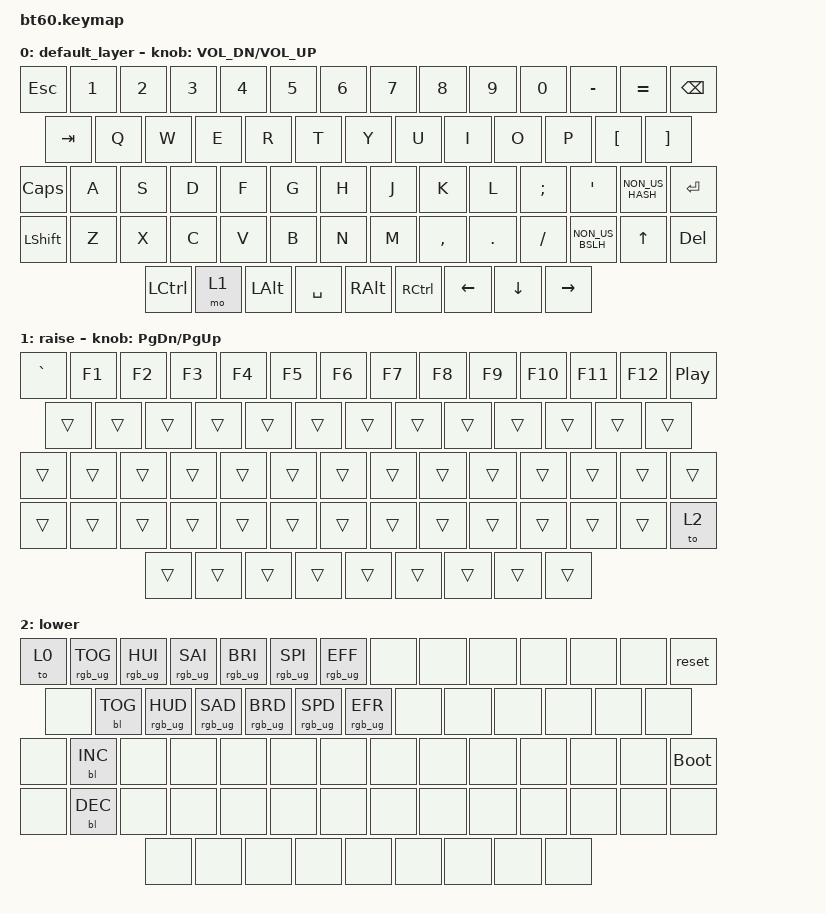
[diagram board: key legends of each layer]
#include <behaviors.dtsi>
#include <dt-bindings/zmk/keys.h>
#include <dt-bindings/zmk/bt.h>
#include <dt-bindings/zmk/rgb.h>
#include <dt-bindings/zmk/backlight.h>

/ {
	keymap {
		compatible = "zmk,keymap";

		default_layer {
				// ------------------------------------------------------------------------------------------
				// | ESC |  1  |  2  |  3  |  4  |  5  |  6  |  7  |  8  |  9  |  0  |  -  |  =  |   BKSP   |
				// | TAB  |  Q  |  W  |  E  |  R  |  T  |  Y  |  U  |  I  |  O  |  P  |  [  |  ]  |         |
				// | CAPS  |  A  |  S  |  D  |  F  |  G  |  H  |  J  |  K  |  L  |  ;  |  '  |  #   | ENTER |
				// |  SHIFT |  Z  |  X  |  C  |  V  |  B  |  N  |  M  |  ,  |  .  | /   |  \  |  UP  |  DEL |
				// |  CTL  |  1   |  ALT  |                     SPACE       | ALT | CTL |LEFT | DOWN | RIGHT|
				// ------------------------------------------------------------------------------------------
			bindings = <

				&kp ESC &kp N1 &kp N2 &kp N3 &kp N4 &kp N5 &kp N6 &kp N7 &kp  N8   &kp  N9 &kp  N0  &kp MINUS &kp EQUAL &kp BSPC
				&kp TAB  &kp Q  &kp W  &kp E  &kp R  &kp T  &kp Y  &kp U  &kp  I    &kp  O  &kp  P   &kp LBKT &kp RBKT
				&kp CLCK  &kp A  &kp S  &kp D  &kp F  &kp G  &kp H  &kp J  &kp  K    &kp  L  &kp SEMI &kp SQT  &kp NON_US_HASH  &kp RET
				&kp LSHFT  &kp Z  &kp X  &kp C  &kp V  &kp B  &kp N  &kp M  &kp COMMA &kp DOT &kp FSLH &kp NON_US_BSLH &kp UP &kp DEL
				&kp LCTRL &mo 1 &kp LALT            &kp SPACE                          &kp RALT  &kp RCTRL &kp LEFT &kp DOWN &kp RIGHT
			>;
			sensor-bindings = <&inc_dec_kp C_VOL_DN C_VOL_UP>;
		};
		raise {
			bindings = <
				&kp GRAVE &kp F1 &kp F2 &kp F3 &kp F4 &kp F5 &kp F6 &kp F7 &kp  F8   &kp  F9 &kp  F10  &kp F11 &kp F12   &kp C_PLAY_PAUSE
				&trans &trans &trans &trans &trans &trans &trans &trans &trans &trans &trans &trans &trans
				&trans   &trans &trans &trans &trans &trans &trans &trans &trans &trans &trans &trans &trans &trans
				&trans    &trans &trans &trans &trans &trans &trans &trans &trans &trans &trans &trans &trans  &to 2
				&trans &trans &trans              &trans                   &trans &trans &trans &trans &trans
			>;
			sensor-bindings = <&inc_dec_kp PG_DN PG_UP>;
		};
		lower {
			bindings = <
				&to 0 &rgb_ug RGB_TOG &rgb_ug RGB_HUI &rgb_ug RGB_SAI &rgb_ug RGB_BRI &rgb_ug RGB_SPI &rgb_ug RGB_EFF &none &none &none &none &none &none &reset
				&none  &bl BL_TOG &rgb_ug RGB_HUD &rgb_ug RGB_SAD &rgb_ug RGB_BRD &rgb_ug RGB_SPD &rgb_ug RGB_EFR &none &none &none &none &none &none
				&none    &bl BL_INC &none &none &none &none &none &none &none &none &none &none &none &bootloader
				&none      &bl BL_DEC &none &none &none &none &none &none &none &none &none &none &none &none
				 &none   &none   &none                   &none                   &none &none &none &none &none
			>;
		};
	};
};
